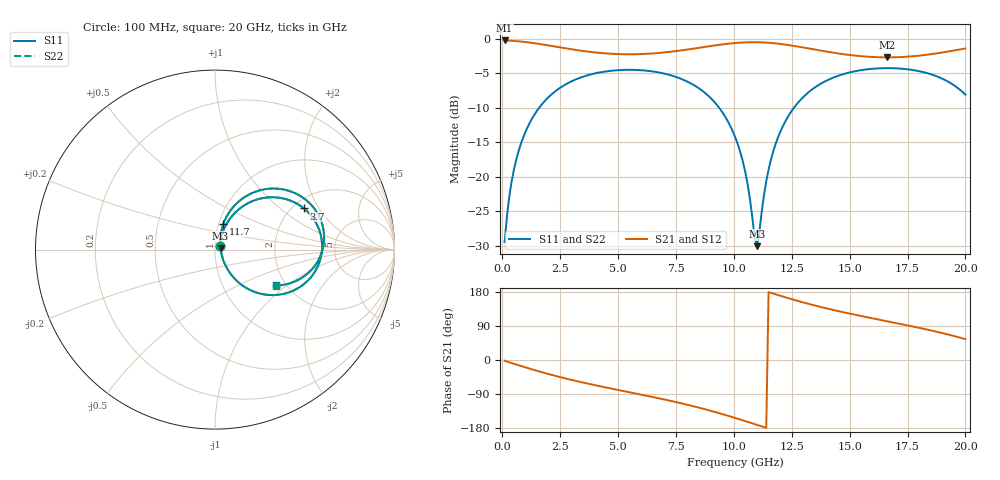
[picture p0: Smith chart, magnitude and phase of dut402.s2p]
! Touchstone file exported from HFSS 2026.1.0
!  File:  C:/ffzhzh/LocalFiles/Ansys_Project_Files/temp_train_TSV_RDL_402_1783092858_37876.aedt
!  Generated:  11:49:43 PM Jul  3, 2026
!  Design:  TSV_RDL
!  Project:  temp_train_TSV_RDL_402_1783092858_37876
! Variables:
!  h_bsmrdl = 4.69um
!  h_ox = 20um
!  h_rdl = 5um
!  h_sub = 64.45um
!  h_tmrdl = 5.24um
!  h_tsv = 64.45um
!  h_via = 3um
!  l_bsmrdl = 254.39um
!  l_sub = 5216.93um
!  l_tmrdl = 982.6um
!  m_sub = 200um
!  pitch = 51.58um
!  r_tsv = 13.96um
!  s_tmrdl = 10um
!  w_bsmrdl = 29.45um
!  w_sub = 500um
!  w_tmrdl = 11.67um
!  x_tsv_center1 = 988.435um
!  x_tsv_center2 = 1272.275um
!  x_tsv_center3 = 2266.545um
!  x_tsv_center4 = 2550.385um
!  x_tsv_center5 = 3544.655um
!  x_tsv_center6 = 3828.495um
# GHz S MA R 50.000000
! Terminal data exported
! Port[1] = TM_RDL1_1_T1
! Port[2] = TM_RDL5_1_T1
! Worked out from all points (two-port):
!   200 points, 100 MHz to 20 GHz, reference 50 ohm
!   highest |S21| = -0.22 dB at 100 MHz (marker M1); lowest = -2.7 dB at 16.6 GHz (marker M2)
!   |S21| within 3 dB of the highest: start of sweep to end of sweep
!   lowest |S11| = -30.0 dB at 11 GHz (marker M3), VSWR 1.07, Z = 53.2 + j0.715 ohm
!   |S11| at or under -10 dB: start of sweep to 1.588 GHz; 9.37 GHz to 12.59 GHz (3.221 GHz wide, 29.3 % of centre)
!   |S22| runs from -30.0 to -4.2 dB; largest |S21 - S12| = 1.6e-14
!   S11 on the Smith chart (normalised r, x): 100 MHz: 1.05, +0.05; 3.7 GHz: 2.29, +1.49; 11.7 GHz: 1.05, +0.31; 20 GHz: 1.78, -0.84
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0.1  0.0337 40.2  0.9748 -2.0  0.9748 -2.0  0.0337 40.2
! Gamma 0 0 0 0
! Port Impedance 50 0 50 0
0.3  0.07157 62.6  0.9717 -6.0  0.9717 -6.0  0.07157 62.6
0.5  0.1124 66.2  0.9671 -9.9  0.9671 -9.9  0.1124 66.2
1.1  0.2307 61.7  0.9452 -21.3  0.9452 -21.3  0.2307 61.7
2.1  0.3928 47.0  0.891 -38.8  0.891 -38.8  0.3928 47.0
3.5  0.5333 27.4  0.8173 -59.7  0.8173 -59.7  0.5333 27.4
3.7  0.5461 24.8  0.8091 -62.4  0.8091 -62.4  0.5461 24.8
5.3  0.5969 5.4  0.7742 -82.8  0.7742 -82.8  0.5969 5.4
6.8  0.5699 -12.5  0.7922 -101.6  0.7922 -101.6  0.5699 -12.5
8.8  0.4003 -39.3  0.8784 -130.7  0.8784 -130.7  0.4003 -39.3
10.1  0.1861 -56.4  0.9355 -153.8  0.9355 -153.8  0.1861 -56.4
10.5  0.1073 -56.6  0.9444 -161.4  0.9444 -161.4  0.1073 -56.5
11  0.03149 12.3  0.9466 -171.2  0.9466 -171.2  0.03158 12.3
11.4  0.09309 69.7  0.9407 -179.0  0.9407 -179.0  0.09312 69.7
11.7  0.1528 72.0  0.9321 175.2  0.9321 175.2  0.1528 71.9
12.4  0.284 64.9  0.901 162.2  0.901 162.2  0.284 64.9
13.4  0.4331 50.8  0.8434 145.3  0.8434 145.3  0.4331 50.8
14.8  0.5605 32.4  0.7724 125.1  0.7724 125.1  0.5605 32.4
16.6  0.6145 11.5  0.7352 102.5  0.7352 102.5  0.6145 11.4
16.7  0.6145 10.3  0.7352 101.3  0.7352 101.3  0.6145 10.3
18.4  0.5619 -9.5  0.7702 79.6  0.7702 79.6  0.5619 -9.5
20  0.3948 -30.4  0.8521 55.1  0.8521 55.1  0.3948 -30.5
